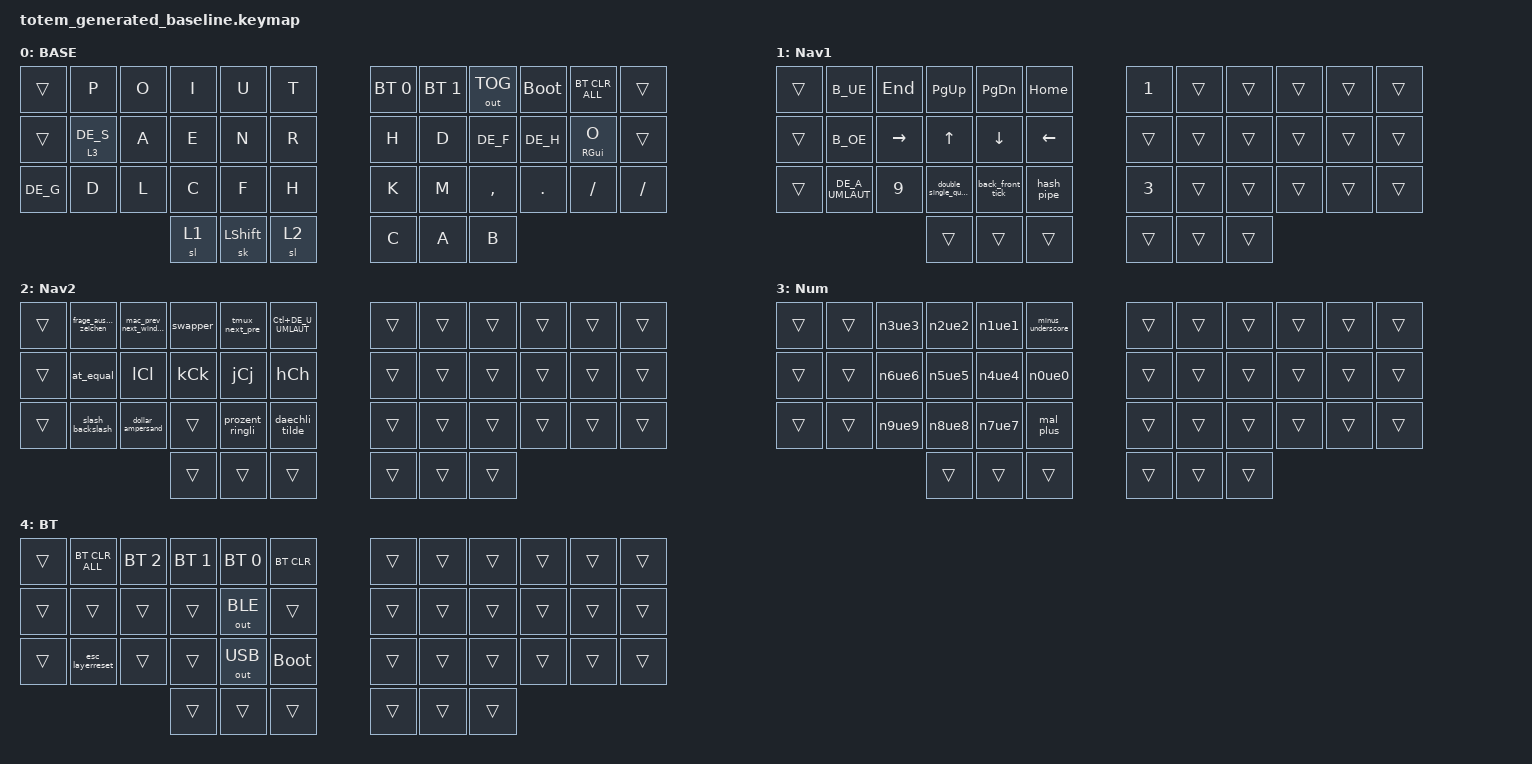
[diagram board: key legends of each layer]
#include "keys_de_swiss.h"
#include <behaviors.dtsi>
#include <dt-bindings/zmk/bt.h>
#include <dt-bindings/zmk/keys.h>
#include <dt-bindings/zmk/outputs.h>

&default_transform { col-offset = <0>; };

#define BASE 0
#define NAV  1
#define SYM  2
#define ADJ  3

&mt {
    quick-tap-ms = <100>;
    global-quick-tap;
    flavor = "tap-preferred";
    tapping-term-ms = <170>;
};

/ {
    combos {
        compatible = "zmk,combos";

        // BEGIN combos
        horiz_base_0_0 {
            bindings = <&kp DE_X>;
            key-positions = <0 1>;
            layers = <0>;
        };

        horiz_base_0_1 {
            bindings = <&kp DE_W>;
            key-positions = <1 2>;
            layers = <0>;
        };

        horiz_base_0_2 {
            bindings = <&kp DE_M>;
            key-positions = <2 3>;
            layers = <0>;
        };

        horiz_base_0_3 {
            bindings = <&kp DE_Z>;
            key-positions = <3 4>;
            layers = <0>;
        };

        horiz_base_1_0 {
            bindings = <&kp DE_Q>;
            key-positions = <12 13>;
            layers = <0>;
        };

        horiz_base_1_1 {
            bindings = <&kp TAB>;
            key-positions = <13 14>;
            layers = <0>;
        };

        horiz_base_1_2 {
            bindings = <&kp DE_V>;
            key-positions = <14 15>;
            layers = <0>;
        };

        horiz_base_1_3 {
            bindings = <&kp DE_G>;
            key-positions = <15 16>;
            layers = <0>;
        };

        horiz_base_2_1 {
            bindings = <&kp DE_Y>;
            key-positions = <25 26>;
            layers = <0>;
        };

        horiz_base_2_2 {
            bindings = <&kp DE_K>;
            key-positions = <26 27>;
            layers = <0>;
        };

        horiz_base_2_3 {
            bindings = <&kp DE_J>;
            key-positions = <27 28>;
            layers = <0>;
        };

        horiz_base_2_4 {
            bindings = <&kp DE_B>;
            key-positions = <28 29>;
            layers = <0>;
        };

        vert_base_0_0 {
            bindings = <&backspace_delete>;
            key-positions = <0 12>;
            layers = <0>;
        };

        vert_base_0_1 {
            bindings = <&round_brackets>;
            key-positions = <1 13>;
            layers = <0>;
        };

        vert_base_0_2 {
            bindings = <&esc_layerreset>;
            key-positions = <2 14>;
            layers = <0>;
        };

        vert_base_0_3 {
            bindings = <&sk LEFT_ALT>;
            key-positions = <3 15>;
            layers = <0>;
        };

        vert_base_0_4 {
            bindings = <&sk LEFT_GUI>;
            key-positions = <4 16>;
            layers = <0>;
        };

        diag_down_base_0_2 {
            bindings = <&punkt_doppelpunkt>;
            key-positions = <2 15>;
            layers = <0>;
        };

        diag_down_base_1_0 {
            bindings = <&kp ENTER>;
            key-positions = <12 25>;
            layers = <0>;
        };

        diag_down_base_1_1 {
            bindings = <&square_brackets>;
            key-positions = <13 26>;
            layers = <0>;
        };

        diag_down_base_1_3 {
            bindings = <&caps_word>;
            key-positions = <15 28>;
            layers = <0>;
        };

        diag_down_base_1_4 {
            bindings = <&sk LCTRL>;
            key-positions = <16 29>;
            layers = <0>;
        };

        diag_up_base_1_4 {
            bindings = <&curly_brackets>;
            key-positions = <16 3>;
            layers = <0>;
        };

        diag_up_base_2_3 {
            bindings = <&kp SPACE>;
            key-positions = <27 14>;
            layers = <0>;
        };

        diag_knight_base_2_4 {
            bindings = <&komma_strickpunkt>;
            key-positions = <28 14>;
            layers = <0>;
        };

        diag_knight_base_2_5 {
            bindings = <&angled_brackets>;
            key-positions = <29 15>;
            layers = <0>;
        };

        toBT {
            bindings = <&to 4>;
            key-positions = <1 2 3 4>;
            layers = <0>;
        };

        ae {
            bindings = <&M_UPPER_AEOEUE DE_A_UMLAUT>;
            key-positions = <33 21 32>;
            layers = <0>;
        };
        // END combos
    };

    macros {
        // BEGIN macros
        esc_layerreset: esc_layerreset {
            compatible = "zmk,behavior-macro";
            #binding-cells = <0>;
            bindings = <&kp ESCAPE &to 0>;
        };

        daechli: daechli {
            compatible = "zmk,behavior-macro";
            #binding-cells = <0>;
            bindings = <&kp DE_CARET &kp SPACE>;
        };

        tilde: tilde {
            compatible = "zmk,behavior-macro";
            #binding-cells = <0>;
            bindings = <&kp LA(DE_N) &kp SPACE>;
        };

        M_UPPER_AEOEUE: AE {
            compatible = "zmk,behavior-macro-one-param";
            #binding-cells = <1>;
            bindings =
                <&kp CAPSLOCK>,
                <&macro_pause_for_release>,
                <&macro_param_1to1>,
                <&kp MACRO_PLACEHOLDER>,
                <&kp CAPSLOCK>;
            wait-ms = <80>;
            tap-ms = <80>;
        };

        M_UE: M_UE {
            compatible = "zmk,behavior-macro";
            #binding-cells = <0>;
            bindings = <&kp CAPSLOCK &kp DE_U_UMLAUT &kp CAPSLOCK>;
            wait-ms = <20>;
            tap-ms = <20>;
        };

        M_OE: M_OE {
            compatible = "zmk,behavior-macro";
            #binding-cells = <0>;
            bindings = <&kp CAPSLOCK &kp DE_O_UMLAUT &kp CAPSLOCK>;
            wait-ms = <100>;
            tap-ms = <100>;
        };

        backtick_macro: backtick_macro {
            compatible = "zmk,behavior-macro";
            #binding-cells = <0>;
            bindings = <&kp DE_GRAVE &kp SPACE>;
        };

        fronttick_macro: fronttick_macro {
            compatible = "zmk,behavior-macro";
            #binding-cells = <0>;
            bindings = <&kp RA(EQUAL) &kp SPACE>;
        };

        ue1: ue1 {
            compatible = "zmk,behavior-macro";
            #binding-cells = <0>;
            bindings = <&kp DE_U_UMLAUT &kp DE_N1>;
        };

        ue2: ue2 {
            compatible = "zmk,behavior-macro";
            #binding-cells = <0>;
            bindings = <&kp DE_U_UMLAUT &kp DE_N2>;
        };

        ue3: ue3 {
            compatible = "zmk,behavior-macro";
            #binding-cells = <0>;
            bindings = <&kp DE_U_UMLAUT &kp DE_N3>;
        };

        ue4: ue4 {
            compatible = "zmk,behavior-macro";
            #binding-cells = <0>;
            bindings = <&kp DE_U_UMLAUT &kp DE_N4>;
        };

        ue5: ue5 {
            compatible = "zmk,behavior-macro";
            #binding-cells = <0>;
            bindings = <&kp DE_U_UMLAUT &kp DE_N5>;
        };

        ue6: ue6 {
            compatible = "zmk,behavior-macro";
            #binding-cells = <0>;
            bindings = <&kp DE_U_UMLAUT &kp DE_N6>;
        };

        ue7: ue7 {
            compatible = "zmk,behavior-macro";
            #binding-cells = <0>;
            bindings = <&kp DE_U_UMLAUT &kp DE_N7>;
        };

        ue8: ue8 {
            compatible = "zmk,behavior-macro";
            #binding-cells = <0>;
            bindings = <&kp DE_U_UMLAUT &kp DE_N8>;
        };

        ue9: ue9 {
            compatible = "zmk,behavior-macro";
            #binding-cells = <0>;
            bindings = <&kp DE_U_UMLAUT &kp DE_N9>;
        };

        ue0: ue0 {
            compatible = "zmk,behavior-macro";
            #binding-cells = <0>;
            bindings = <&kp DE_U_UMLAUT &kp DE_N0>;
        };

        tmux_next_window: tmux_next_window {
            compatible = "zmk,behavior-macro";
            #binding-cells = <0>;
            bindings = <&kp DE_U_UMLAUT &kp DE_N>;
        };

        tmux_prev_window: tmux_prev_window {
            compatible = "zmk,behavior-macro";
            #binding-cells = <0>;
            bindings = <&kp DE_U_UMLAUT &kp DE_P>;
        };
        // END macros
    };

    behaviors {
        // BEGIN behaviors
        square_brackets: square_brackets {
            compatible = "zmk,behavior-mod-morph";
            #binding-cells = <0>;
            bindings = <&kp LA(DE_N5)>, <&kp LA(DE_N6)>;
            mods = <(MOD_LSFT)>;
        };

        round_brackets: round_brackets {
            compatible = "zmk,behavior-mod-morph";
            #binding-cells = <0>;
            bindings = <&kp LS(DE_N8)>, <&kp LS(DE_N9)>;
            mods = <(MOD_LSFT)>;
        };

        angled_brackets: angled_brackets {
            compatible = "zmk,behavior-mod-morph";
            #binding-cells = <0>;
            bindings = <&kp DE_LESS_THAN>, <&kp DE_GREATER_THAN>;
            mods = <(MOD_LSFT)>;
        };

        curly_brackets: curly_brackets {
            compatible = "zmk,behavior-mod-morph";
            #binding-cells = <0>;
            bindings = <&kp LA(DE_N8)>, <&kp LA(DE_N9)>;
            mods = <(MOD_LSFT)>;
        };

        backspace_delete: backspace_delete {
            compatible = "zmk,behavior-mod-morph";
            #binding-cells = <0>;
            bindings = <&kp BACKSPACE>, <&kp DELETE>;
            mods = <(MOD_LSFT)>;
        };

        double_single_quote: double_single_quote {
            compatible = "zmk,behavior-mod-morph";
            #binding-cells = <0>;
            bindings = <&kp DE_DOUBLE_QUOTES>, <&kp MINUS>;
            mods = <(MOD_LSFT)>;
        };

        back_front_tick: back_front_tick {
            compatible = "zmk,behavior-mod-morph";
            #binding-cells = <0>;
            bindings = <&backtick_macro>, <&fronttick_macro>;
            mods = <(MOD_LSFT)>;
        };

        punkt_doppelpunkt: punkt_doppelpunkt {
            compatible = "zmk,behavior-mod-morph";
            #binding-cells = <0>;
            bindings = <&kp DE_DOT>, <&kp DE_COLON>;
            mods = <(MOD_LSFT)>;
        };

        komma_strickpunkt: komma_strickpunkt {
            compatible = "zmk,behavior-mod-morph";
            #binding-cells = <0>;
            bindings = <&kp DE_COMMA>, <&kp DE_SEMICOLON>;
            mods = <(MOD_LSFT)>;
        };

        frage_ausrufe_zeichen: frage_ausrufe_zeichen {
            compatible = "zmk,behavior-mod-morph";
            #binding-cells = <0>;
            bindings = <&kp DE_QUESTION>, <&kp DE_EXCLAMATION>;
            mods = <(MOD_LSFT)>;
        };

        daechli_tilde: daechli_tilde {
            compatible = "zmk,behavior-mod-morph";
            #binding-cells = <0>;
            bindings = <&daechli>, <&tilde>;
            mods = <(MOD_LSFT)>;
        };

        prozent_ringli: prozent_ringli {
            compatible = "zmk,behavior-mod-morph";
            #binding-cells = <0>;
            bindings = <&kp DE_PERCENT>, <&kp LS(NON_US_BSLH)>;
            mods = <(MOD_LSFT)>;
        };

        hash_pipe: hash_pipe {
            compatible = "zmk,behavior-mod-morph";
            #binding-cells = <0>;
            bindings = <&kp DE_HASH>, <&kp DE_PIPE>;
            mods = <(MOD_LSFT)>;
        };

        at_equal: at_equal {
            compatible = "zmk,behavior-mod-morph";
            #binding-cells = <0>;
            bindings = <&kp LA(DE_G)>, <&kp DE_EQUAL>;
            mods = <(MOD_LSFT)>;
        };

        dollar_ampersand: dollar_ampersand {
            compatible = "zmk,behavior-mod-morph";
            #binding-cells = <0>;
            bindings = <&kp DE_DOLLAR>, <&kp DE_AMPERSAND>;
            mods = <(MOD_LSFT)>;
        };

        slash_backslash: slash_backslash {
            compatible = "zmk,behavior-mod-morph";
            #binding-cells = <0>;
            bindings = <&kp DE_SLASH>, <&kp LS(LA(DE_N7))>;
            mods = <(MOD_LSFT)>;
        };

        mal_plus: mal_plus {
            compatible = "zmk,behavior-mod-morph";
            #binding-cells = <0>;
            bindings = <&kp DE_ASTERISK>, <&kp DE_PLUS>;
            mods = <(MOD_LSFT)>;
        };

        minus_underscore: minus_underscore {
            compatible = "zmk,behavior-mod-morph";
            #binding-cells = <0>;
            bindings = <&kp DE_MINUS>, <&kp DE_UNDER>;
            mods = <(MOD_LSFT)>;
        };

        B_AE: B_AE {
            compatible = "zmk,behavior-mod-morph";
            #binding-cells = <0>;
            bindings = <&kp DE_A_UMLAUT>, <&M_UPPER_AEOEUE DE_A_UMLAUT>;
            mods = <(MOD_LSFT)>;
        };

        B_UE: B_UE {
            compatible = "zmk,behavior-mod-morph";
            #binding-cells = <0>;
            bindings = <&kp DE_U_UMLAUT>, <&M_UE>;
            mods = <(MOD_LSFT)>;
        };

        B_OE: B_OE {
            compatible = "zmk,behavior-mod-morph";
            #binding-cells = <0>;
            bindings = <&kp DE_O_UMLAUT>, <&M_OE>;
            mods = <(MOD_LSFT)>;
        };

        hCh: hCh {
            compatible = "zmk,behavior-mod-morph";
            #binding-cells = <0>;
            bindings = <&kp DE_H>, <&kp LC(DE_H)>;
            mods = <(MOD_LSFT)>;
        };

        jCj: jCj {
            compatible = "zmk,behavior-mod-morph";
            #binding-cells = <0>;
            bindings = <&kp DE_J>, <&kp LC(DE_J)>;
            mods = <(MOD_LSFT)>;
        };

        kCk: kCk {
            compatible = "zmk,behavior-mod-morph";
            #binding-cells = <0>;
            bindings = <&kp DE_K>, <&kp LC(DE_K)>;
            mods = <(MOD_LSFT)>;
        };

        lCl: lCl {
            compatible = "zmk,behavior-mod-morph";
            #binding-cells = <0>;
            bindings = <&kp DE_L>, <&kp LC(DE_L)>;
            mods = <(MOD_LSFT)>;
        };

        n0ue0: n0ue0 {
            compatible = "zmk,behavior-mod-morph";
            #binding-cells = <0>;
            bindings = <&kp DE_N0>, <&ue0>;
            mods = <(MOD_LSFT)>;
        };

        n1ue1: n1ue1 {
            compatible = "zmk,behavior-mod-morph";
            #binding-cells = <0>;
            bindings = <&kp DE_N1>, <&ue1>;
            mods = <(MOD_LSFT)>;
        };

        n2ue2: n2ue2 {
            compatible = "zmk,behavior-mod-morph";
            #binding-cells = <0>;
            bindings = <&kp DE_N2>, <&ue2>;
            mods = <(MOD_LSFT)>;
        };

        n3ue3: n3ue3 {
            compatible = "zmk,behavior-mod-morph";
            #binding-cells = <0>;
            bindings = <&kp DE_N3>, <&ue3>;
            mods = <(MOD_LSFT)>;
        };

        n4ue4: n4ue4 {
            compatible = "zmk,behavior-mod-morph";
            #binding-cells = <0>;
            bindings = <&kp DE_N4>, <&ue4>;
            mods = <(MOD_LSFT)>;
        };

        n5ue5: n5ue5 {
            compatible = "zmk,behavior-mod-morph";
            #binding-cells = <0>;
            bindings = <&kp DE_N5>, <&ue5>;
            mods = <(MOD_LSFT)>;
        };

        n6ue6: n6ue6 {
            compatible = "zmk,behavior-mod-morph";
            #binding-cells = <0>;
            bindings = <&kp DE_N6>, <&ue6>;
            mods = <(MOD_LSFT)>;
        };

        n7ue7: n7ue7 {
            compatible = "zmk,behavior-mod-morph";
            #binding-cells = <0>;
            bindings = <&kp DE_N7>, <&ue7>;
            mods = <(MOD_LSFT)>;
        };

        n8ue8: n8ue8 {
            compatible = "zmk,behavior-mod-morph";
            #binding-cells = <0>;
            bindings = <&kp DE_N8>, <&ue8>;
            mods = <(MOD_LSFT)>;
        };

        n9ue9: n9ue9 {
            compatible = "zmk,behavior-mod-morph";
            #binding-cells = <0>;
            bindings = <&kp DE_N9>, <&ue9>;
            mods = <(MOD_LSFT)>;
        };

        tmux_next_pre: tmux_next_pre {
            compatible = "zmk,behavior-mod-morph";
            #binding-cells = <0>;
            bindings = <&tmux_next_window>, <&tmux_prev_window>;
            mods = <(MOD_LSFT)>;
        };

        mac_next_prev_app: mac_next_prev_app {
            compatible = "zmk,behavior-mod-morph";
            #binding-cells = <0>;
            bindings = <&kp LG(TAB)>, <&kp LG(LS(TAB))>;
            mods = <(MOD_LSFT)>;
        };

        mac_prev_next_window: mac_prev_next_window {
            compatible = "zmk,behavior-mod-morph";
            #binding-cells = <0>;
            bindings = <&kp LC(F9)>, <&kp LS(LC(F9))>;
            mods = <(MOD_LSFT)>;
        };

        swapper: swapper {
            compatible = "zmk,behavior-smart-toggle";
            #binding-cells = <0>;
            bindings = <&kp LGUI>, <&kp TAB>;
            ignored-key-positions = <33>;
        };
        // END behaviors
    };

    keymap {
        compatible = "zmk,keymap";

        // BEGIN keymap
        BASE {
            display-name = "BASE";
            bindings = <
&trans &kp P &kp O &kp I &kp U &kp T &bt BT_SEL 0 &bt BT_SEL 1 &out OUT_TOG &bootloader &bt BT_CLR_ALL &trans
&trans &lt 3 DE_S &kp A &kp E &kp N &kp R &kp H &kp D &kp DE_F &kp DE_H &mt RGUI O &trans
&kp DE_G &kp D &kp L &kp C &kp F &kp H &kp K &kp M &kp COMMA &kp DOT &kp FSLH &kp FSLH
&sl 1 &sk LEFT_SHIFT &sl 2 &kp C &kp A &kp B
            >;
        };

        Nav1 {
            display-name = "Nav1";
            bindings = <
&trans &B_UE &kp END &kp PG_UP &kp PG_DN &kp HOME &kp N1 &trans &trans &trans &trans &trans
&trans &B_OE &kp RIGHT_ARROW &kp UP &kp DOWN &kp LEFT_ARROW &trans &trans &trans &trans &trans &trans
&trans &kp DE_A_UMLAUT &kp N9 &double_single_quote &back_front_tick &hash_pipe &kp N3 &trans &trans &trans &trans &trans
&trans &trans &trans &trans &trans &trans
            >;
        };

        Nav2 {
            display-name = "Nav2";
            bindings = <
&trans &frage_ausrufe_zeichen &mac_prev_next_window &swapper &tmux_next_pre &kp LC(DE_U_UMLAUT) &trans &trans &trans &trans &trans &trans
&trans &at_equal &lCl &kCk &jCj &hCh &trans &trans &trans &trans &trans &trans
&trans &slash_backslash &dollar_ampersand &trans &prozent_ringli &daechli_tilde &trans &trans &trans &trans &trans &trans
&trans &trans &trans &trans &trans &trans
            >;
        };

        Num {
            display-name = "Num";
            bindings = <
&trans &trans &n3ue3 &n2ue2 &n1ue1 &minus_underscore &trans &trans &trans &trans &trans &trans
&trans &trans &n6ue6 &n5ue5 &n4ue4 &n0ue0 &trans &trans &trans &trans &trans &trans
&trans &trans &n9ue9 &n8ue8 &n7ue7 &mal_plus &trans &trans &trans &trans &trans &trans
&trans &trans &trans &trans &trans &trans
            >;
        };

        BT {
            display-name = "BT";
            bindings = <
&trans &bt BT_CLR_ALL &bt BT_SEL 2 &bt BT_SEL 1 &bt BT_SEL 0 &bt BT_CLR &trans &trans &trans &trans &trans &trans
&trans &trans &trans &trans &out OUT_BLE &trans &trans &trans &trans &trans &trans &trans
&trans &esc_layerreset &trans &trans &out OUT_USB &bootloader &trans &trans &trans &trans &trans &trans
&trans &trans &trans &trans &trans &trans
            >;
        };
        // END keymap
    };

    conditional_layers {
        compatible = "zmk,conditional-layers";

        BT {
            if-layers = <1 2>;
            then-layer = <4>;
        };
    };
};
